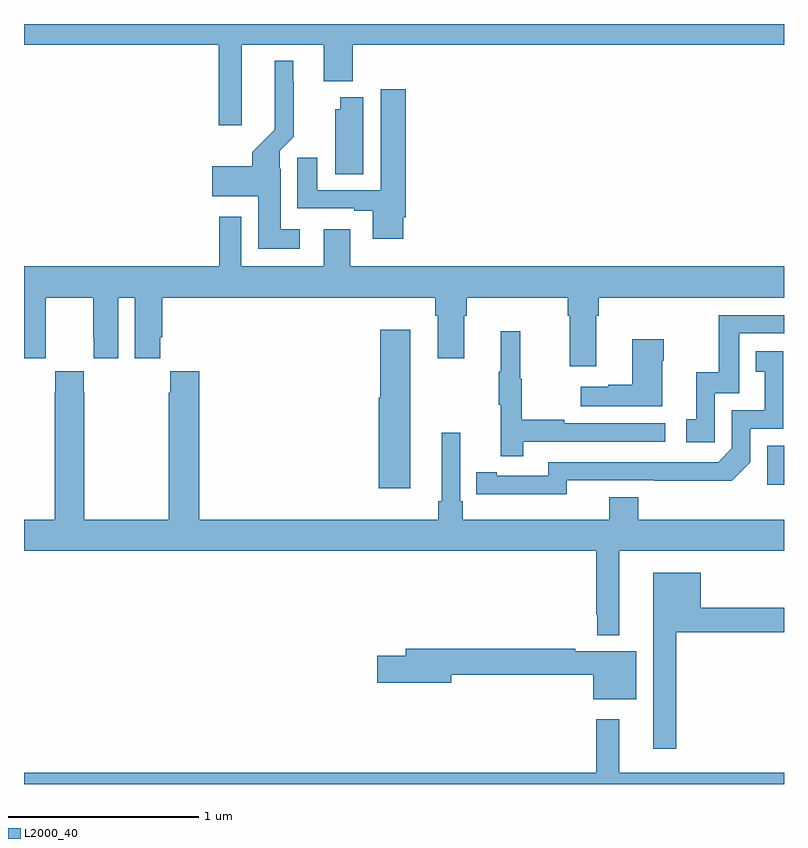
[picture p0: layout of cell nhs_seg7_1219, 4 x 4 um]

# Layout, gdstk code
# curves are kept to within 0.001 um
import gdstk
lib = gdstk.Library(unit=1e-6, precision=1e-09)
def R(c, l, rs):  # rectangles x0, y0, x1, y1
    for r in rs: c.add(gdstk.rectangle(r[:2], r[2:], *l))
def P(c, l, *ps):  # polygons
    for p in ps: c.add(gdstk.Polygon(p, *l))
L2000_40 = (2000, 40)

nhs_seg7_1219 = lib.new_cell('nhs_seg7_1219')
R(nhs_seg7_1219, L2000_40, [(198.912,1055.574,199,1055.781)])
P(nhs_seg7_1219, L2000_40, [(196.147,1057.892),(196.577,1057.892),(196.577,1057.7),(196.73,1057.7),(196.73,1057.892),(199,1057.892),(199,1058),(195,1058),(195,1057.892),(196.025,1057.892),(196.025,1057.467),(196.147,1057.467)],
  [(196.45,1056.919),(196.351,1056.919),(196.351,1057.238),(196.347,1057.238),(196.347,1057.332),(196.421,1057.406),(196.421,1057.697),(196.417,1057.697),(196.417,1057.807),(196.319,1057.807),(196.32,1057.444),(196.202,1057.326),(196.202,1057.252),(195.99,1057.252),(195.99,1057.094),(196.232,1057.094),(196.232,1056.818),(196.45,1056.818)],
  [(196.996,1056.982),(197.009,1056.982),(197.009,1057.657),(196.877,1057.657),(196.877,1057.125),(196.543,1057.125),(196.543,1057.297),(196.439,1057.297),(196.439,1057.029),(196.739,1057.029),(196.739,1057.017),(196.835,1057.017),(196.835,1056.87),(196.996,1056.87)],
  [(196.786,1057.615),(196.664,1057.615),(196.664,1057.551),(196.637,1057.551),(196.637,1057.21),(196.786,1057.21)],
  [(198.013,1056.464),(198.026,1056.464),(198.026,1056.56),(199,1056.56),(199,1056.724),(196.717,1056.724),(196.717,1056.919),(196.577,1056.919),(196.577,1056.724),(196.143,1056.724),(196.143,1056.985),(196.027,1056.985),(196.027,1056.724),(195,1056.724),(195,1056.24),(195.114,1056.24),(195.114,1056.352),(195.115,1056.352),(195.115,1056.56),(195.365,1056.56),(195.365,1056.352),(195.366,1056.352),(195.366,1056.24),(195.496,1056.24),(195.496,1056.56),(195.584,1056.56),(195.584,1056.24),(195.718,1056.24),(195.718,1056.352),(195.728,1056.352),(195.728,1056.56),(197.165,1056.56),(197.165,1056.464),(197.177,1056.464),(197.177,1056.24),(197.317,1056.24),(197.317,1056.464),(197.33,1056.464),(197.33,1056.56),(197.861,1056.56),(197.861,1056.464),(197.873,1056.464),(197.873,1056.198),(198.013,1056.198)],
  [(198.636,1056.057),(198.765,1056.057),(198.765,1056.372),(199,1056.372),(199,1056.468),(198.657,1056.468),(198.657,1056.166),(198.539,1056.166),(198.539,1055.919),(198.486,1055.919),(198.486,1055.799),(198.636,1055.799)],
  [(197.032,1056.391),(196.874,1056.391),(196.874,1056.033),(196.868,1056.033),(196.868,1055.556),(197.032,1055.556)],
  [(197.627,1055.802),(198.376,1055.802),(198.376,1055.898),(197.843,1055.898),(197.843,1055.918),(197.62,1055.918),(197.62,1056.132),(197.612,1056.132),(197.612,1056.382),(197.51,1056.382),(197.51,1056.169),(197.499,1056.169),(197.499,1055.995),(197.51,1055.995),(197.51,1055.724),(197.627,1055.724)],
  [(198.358,1056.227),(198.366,1056.227),(198.366,1056.34),(198.2,1056.34),(198.2,1056.101),(198.074,1056.101),(198.074,1056.091),(197.931,1056.091),(197.931,1055.987),(198.358,1055.987)],
  [(197.856,1055.598),(198.724,1055.597),(198.822,1055.694),(198.822,1055.871),(198.996,1055.871),(198.996,1056.277),(198.85,1056.277),(198.85,1056.171),(198.899,1056.171),(198.899,1055.967),(198.726,1055.967),(198.726,1055.766),(198.654,1055.694),(197.76,1055.694),(197.76,1055.622),(197.488,1055.622),(197.488,1055.642),(197.38,1055.642),(197.38,1055.526),(197.856,1055.525)],
  [(198.133,1055.228),(199,1055.228),(199,1055.392),(198.233,1055.392),(198.233,1055.509),(198.08,1055.509),(198.08,1055.392),(197.309,1055.392),(197.309,1055.488),(197.295,1055.488),(197.295,1055.848),(197.198,1055.848),(197.198,1055.488),(197.179,1055.488),(197.179,1055.392),(195.923,1055.392),(195.923,1056.172),(195.769,1056.172),(195.769,1056.059),(195.763,1056.059),(195.763,1055.392),(195.318,1055.392),(195.318,1056.059),(195.315,1056.059),(195.315,1056.172),(195.165,1056.172),(195.165,1056.059),(195.163,1056.059),(195.163,1055.392),(195,1055.392),(195,1055.228),(198.012,1055.228),(198.012,1054.891),(198.018,1054.891),(198.018,1054.784),(198.133,1054.784)],
  [(198.433,1054.798),(199,1054.798),(199,1054.927),(198.562,1054.927),(198.562,1055.113),(198.311,1055.113),(198.311,1054.185),(198.433,1054.185)],
  [(198.223,1054.699),(197.9,1054.699),(197.9,1054.712),(197.009,1054.712),(197.009,1054.676),(196.86,1054.676),(196.86,1054.534),(197.248,1054.534),(197.248,1054.576),(197.996,1054.576),(197.996,1054.445),(198.223,1054.445)],
  [(199,1054.06),(198.133,1054.06),(198.133,1054.342),(198.012,1054.342),(198.012,1054.06),(195,1054.06),(195,1054),(199,1054)])

lib.write_gds('nhs_seg7_1219.gds')
